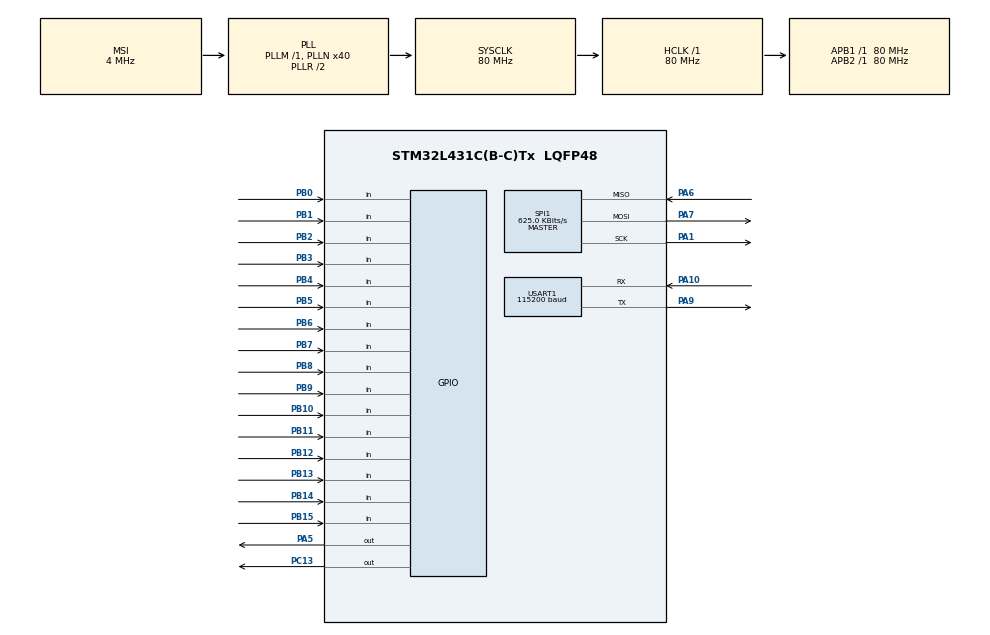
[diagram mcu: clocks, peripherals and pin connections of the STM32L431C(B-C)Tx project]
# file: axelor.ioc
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Dma.Request0=TIM1_UP
Dma.Request1=TIM1_CH1
Dma.TIM1_CH1.1.Direction=DMA_MEMORY_TO_PERIPH
Dma.TIM1_CH1.1.Instance=DMA1_Channel2
Dma.TIM1_CH1.1.MemDataAlignment=DMA_MDATAALIGN_WORD
Dma.TIM1_CH1.1.MemInc=DMA_MINC_ENABLE
Dma.TIM1_CH1.1.Mode=DMA_CIRCULAR
Dma.TIM1_CH1.1.PeriphDataAlignment=DMA_PDATAALIGN_WORD
Dma.TIM1_CH1.1.PeriphInc=DMA_PINC_DISABLE
Dma.TIM1_CH1.1.Priority=DMA_PRIORITY_LOW
Dma.TIM1_UP.0.Direction=DMA_MEMORY_TO_PERIPH
Dma.TIM1_UP.0.Instance=DMA1_Channel6
Dma.TIM1_UP.0.MemDataAlignment=DMA_MDATAALIGN_WORD
Dma.TIM1_UP.0.MemInc=DMA_MINC_ENABLE
Dma.TIM1_UP.0.Mode=DMA_CIRCULAR
Dma.TIM1_UP.0.PeriphDataAlignment=DMA_PDATAALIGN_WORD
Dma.TIM1_UP.0.PeriphInc=DMA_PINC_DISABLE
Dma.TIM1_UP.0.Priority=DMA_PRIORITY_LOW
Mcu.Family=STM32L4
Mcu.Name=STM32L431C(B-C)Tx
Mcu.Package=LQFP48
NVIC.DMA1_Channel2_IRQn=true\:0\:0\:false\:false\:true\:false\:true\:true
NVIC.DMA1_Channel6_IRQn=true\:0\:0\:false\:false\:true\:false\:true\:true
NVIC.PriorityGroup=NVIC_PRIORITYGROUP_4
PA1.Mode=Full_Duplex_Master
PA1.Signal=SPI1_SCK
PA10.Mode=Asynchronous
PA10.Signal=USART1_RX
PA13\ (JTMS-SWDIO).Mode=Serial_Wire
PA13\ (JTMS-SWDIO).Signal=SYS_JTMS-SWDIO
PA14\ (JTCK-SWCLK).Mode=Serial_Wire
PA14\ (JTCK-SWCLK).Signal=SYS_JTCK-SWCLK
PA5.Signal=GPIO_Output
PA6.Mode=Full_Duplex_Master
PA6.Signal=SPI1_MISO
PA7.Mode=Full_Duplex_Master
PA7.Signal=SPI1_MOSI
PA9.Mode=Asynchronous
PA9.Signal=USART1_TX
PB0.Signal=GPIO_Input
PB1.Signal=GPIO_Input
PB10.Signal=GPIO_Input
PB11.Signal=GPIO_Input
PB12.Signal=GPIO_Input
PB13.Signal=GPIO_Input
PB14.Signal=GPIO_Input
PB15.Signal=GPIO_Input
PB2.Signal=GPIO_Input
PB3\ (JTDO-TRACESWO).Signal=GPIO_Input
PB4\ (NJTRST).Signal=GPIO_Input
PB5.Signal=GPIO_Input
PB6.Signal=GPIO_Input
PB7.Signal=GPIO_Input
PB8.Signal=GPIO_Input
PB9.Signal=GPIO_Input
PC13.Signal=GPIO_Output
ProjectManager.HeapSize=0x200
ProjectManager.StackSize=0x400
ProjectManager.TargetToolchain=STM32CubeIDE
RCC.AHBFreq_Value=80000000
RCC.APB1Freq_Value=80000000
RCC.APB1TimFreq_Value=80000000
RCC.APB2Freq_Value=80000000
RCC.APB2TimFreq_Value=80000000
RCC.CortexFreq_Value=80000000
RCC.HCLKFreq_Value=80000000
RCC.HSE_VALUE=8000000
RCC.HSI48_VALUE=48000000
RCC.HSI_VALUE=16000000
RCC.LSE_VALUE=32768
RCC.MSI_VALUE=4000000
RCC.PLLN=40
RCC.SYSCLKFreq_VALUE=80000000
RCC.SYSCLKSource=RCC_SYSCLKSOURCE_PLLCLK
RCC.VCOOutputFreq_Value=160000000
SPI1.BaudRatePrescaler=SPI_BAUDRATEPRESCALER_128
SPI1.CalculateBaudRate=625.0 KBits/s
SPI1.DataSize=SPI_DATASIZE_8BIT
SPI1.Direction=SPI_DIRECTION_2LINES
SPI1.Mode=SPI_MODE_MASTER
SPI1.VirtualType=VM_MASTER
TIM1.Channel-Output\ Compare1\ No\ Output=TIM_CHANNEL_1
TIM1.Period=2775
TIM1.Pulse-Output\ Compare1\ No\ Output=2625
USART1.BaudRate=115200
USART1.VirtualMode-Asynchronous=VM_ASYNC
VP_TIM1_VS_ClockSourceINT.Mode=Internal
VP_TIM1_VS_no_output1.Mode=Output Compare1 No Output
board=custom

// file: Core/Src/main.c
/* USER CODE BEGIN Header */
/**
  ******************************************************************************
  * @file           : main.c
  * @brief          : Main program body
  ******************************************************************************
  * @attention
  *
  * Copyright (c) 2026 STMicroelectronics.
  * All rights reserved.
  *
  * This software is licensed under terms that can be found in the LICENSE file
  * in the root directory of this software component.
  * If no LICENSE file comes with this software, it is provided AS-IS.
  *
  ******************************************************************************
  */
/* USER CODE END Header */
#include "main.h"

/* USER CODE BEGIN Includes */
#include <stdio.h>
#include <string.h>
#include "scene.h"
#include "flip_utils.h"
/* USER CODE END Includes */

SPI_HandleTypeDef hspi1;

TIM_HandleTypeDef htim1;
DMA_HandleTypeDef hdma_tim1_up;
DMA_HandleTypeDef hdma_tim1_ch1;

UART_HandleTypeDef huart1;

/* USER CODE BEGIN PV */

uint32_t blinkCounter = 0;
char msg[128];

/* Charlieplex hardware bring-up scan. This board has NO per-leg current-limiting
   resistors on PB0..PB15 (confirmed), so the only thing protecting the GPIO pins
   from a software bug is the software itself -- see ChargePlex_ValidateScanTable
   and ChargePlex_CheckAlive below. */
#define CP_PIN_COUNT  16
#define CP_SLOT_COUNT (CP_PIN_COUNT * (CP_PIN_COUNT - 1)) /* 240: every ordered (src,dst) pin pair */

/* This board's wiring (confirmed by user): each of the 16 PB pins takes a turn as one row's
   single source/driving pin, with the other 15 pins as that row's sink/column pins -- the
   standard charlieplex row/column convention. ChargePlex_BuildScanTable's enumeration order
   (outer loop over src, inner loop over dst) already groups slots into exactly CP_ROWS
   contiguous blocks of CP_COLS slots each as a direct result -- row r occupies slots
   [r*CP_COLS, r*CP_COLS + CP_COLS - 1]. */
#define CP_ROWS CP_PIN_COUNT       /* 16 */
#define CP_COLS (CP_PIN_COUNT - 1) /* 15 */

static uint32_t bsrr_buf[CP_SLOT_COUNT];
static uint32_t moder_buf[CP_SLOT_COUNT];
static volatile uint8_t chargePlexFaulted = 0;
static uint8_t chargePlexFaultReported = 0;

/* Set true only after HAL_DMA_Start has actually run on both channels in main(), below.
   SysTick (and therefore ChargePlex_CheckAlive, which it calls every 1ms) starts running at
   HAL_Init(), several peripheral inits before MX_TIM1_Init() gives hdma_tim1_up/ch1 a real
   .Instance (set inside HAL_TIM_Base_MspInit, stm32l4xx_hal_msp.c). Without this guard,
   ChargePlex_CheckAlive reads __HAL_DMA_GET_COUNTER on a NULL .Instance during that gap --
   garbage memory, not a real transfer counter -- and a false "stalled" reading there
   permanently latches chargePlexFaulted before the real scan table even exists, silently
   disabling this watchdog for the rest of the session. */
static volatile uint8_t chargePlexScanStarted = 0;

/* Immutable per-slot "this is what moder_buf[slot] would be if this slot is on" reference,
   filled once by ChargePlex_BuildScanTable and never modified afterward -- moder_buf itself
   gets zeroed for "off" slots every frame, so this is what lets a slot be safely turned back
   on later without losing its source/sink pin-pair identity. */
static uint32_t moder_template[CP_SLOT_COUNT];

/* Firmware-local stand-in for DisplayFrame/cellColor until the physics core is ported
   onto this board (research.md Decision 17, data-model.md AxelorFrameBuffer). Shaped as an
   actual [row][col] matrix (not a flat 240 array) to match the eventual real DisplayFrame/
   cellColor shape directly -- no flattening will be needed when that swap happens. Filled by
   a placeholder pattern generator for now; NOT read by DMA -- only ChargePlex_ApplyFrameBuffer()
   translates it into moder_buf (via the row/col -> slot formula above), and only after
   re-validating. The DMA scanner, bsrr_buf, moder_template, and the validator are untouched by
   this -- this buffer is purely upstream of ChargePlex_ApplyFrameBuffer's existing gate. */
static uint8_t cpFrameBuf[CP_ROWS][CP_COLS];
static uint32_t cpCandidateModer[CP_SLOT_COUNT];

/* Round 9: the real ported FLIP simulation driving cpFrameBuf above, in place of Round 8's
   placeholder pattern generator (research.md Decisions 21-24). */
static Scene axelorScene;

/* MPU-6500's own +/-2g full-scale range (spec.md Clarifications Session 2026-06-23;
   research.md Decision 22) -- clamps accelX_mps2/accelY_mps2 before they reach
   simulateFlipFluid, so a violent shake can't inject an unbounded force into the solver. */
#define MAX_GRAVITY_MPS2 19.62f

static inline float ClampGravityMps2(float v)
{
    if (v > MAX_GRAVITY_MPS2) return MAX_GRAVITY_MPS2;
    if (v < -MAX_GRAVITY_MPS2) return -MAX_GRAVITY_MPS2;
    return v;
}

/* Round 11: dt is now this tick's measured wall-clock time (HAL_GetTick(), 1ms resolution), not a
   fixed 0.02f -- the loop no longer sleeps a fixed amount, so a fixed dt would drift from real
   time by whatever the tick's compute happened to cost (research.md Round 11). Clamped so the
   solver stays stable if a tick stalls, and to avoid dt<=0 if two ticks land in the same ms. */
#define MIN_DT_S 0.001f
#define MAX_DT_S 0.04f

static inline float ClampDtS(float v)
{
    if (v < MIN_DT_S) return MIN_DT_S;
    if (v > MAX_DT_S) return MAX_DT_S;
    return v;
}

/* Shared by the Counter print and MPU6500_ReadAccel's own prints below. Round 11: switched from
   iteration-count throttling (printTick % 25, tuned for the old fixed ~20ms/iteration) to
   elapsed-time throttling, since the loop no longer has a fixed period -- recomputed once per
   loop iteration, before MPU6500_ReadAccel() is called. */
static uint32_t lastPrintMs = 0;
static uint8_t printGate = 0;

/* USER CODE END PV */

void SystemClock_Config(void);
static void MX_GPIO_Init(void);
static void MX_DMA_Init(void);
static void MX_SPI1_Init(void);
static void MX_USART1_UART_Init(void);
static void MX_TIM1_Init(void);

/* USER CODE BEGIN 0 */

/* Retargets newlib's printf to huart1. Without this, syscalls.c's _write falls through to a
   weak, undefined __io_putchar -- harmless as long as nothing calls printf, but flip_utils.c's
   setupScene() (ported as-is from the canonical physics source, research.md Decision 18) does
   call printf once at boot, which would otherwise jump to an unresolved address and HardFault
   the very first time the simulation is set up. */
int __io_putchar(int ch)
{
    HAL_UART_Transmit(&huart1, (uint8_t*)&ch, 1, HAL_MAX_DELAY);
    return ch;
}

uint8_t mpuTxData[2];
uint8_t mpuRxData[2];

void MPU6500_ReadWhoAmI(void)
{
    uint8_t whoami;
    HAL_StatusTypeDef status;

    sprintf(msg, "[MPU] Starting WHO_AM_I read...\r\n");
    HAL_UART_Transmit(&huart1, (uint8_t*)msg, strlen(msg), HAL_MAX_DELAY);

    sprintf(msg, "[MPU] CS (PA5) -> LOW\r\n");
    HAL_UART_Transmit(&huart1, (uint8_t*)msg, strlen(msg), HAL_MAX_DELAY);
    HAL_GPIO_WritePin(GPIOA, GPIO_PIN_5, GPIO_PIN_RESET); // CS low

    mpuTxData[0] = 0x75 | 0x80; // WHO_AM_I register (0x75), read bit set
    mpuTxData[1] = 0x00;        // dummy byte to receive data

    status = HAL_SPI_TransmitReceive(&hspi1, mpuTxData, mpuRxData, 2, HAL_MAX_DELAY);

    HAL_GPIO_WritePin(GPIOA, GPIO_PIN_5, GPIO_PIN_SET); // CS high

    /* Snapshot results immediately, before any sprintf can touch these buffers */
    uint8_t tx0 = mpuTxData[0], tx1 = mpuTxData[1];
    uint8_t rx0 = mpuRxData[0], rx1 = mpuRxData[1];
    whoami = rx1;

    sprintf(msg, "[MPU] CS (PA5) -> HIGH\r\n");
    HAL_UART_Transmit(&huart1, (uint8_t*)msg, strlen(msg), HAL_MAX_DELAY);

    sprintf(msg, "[MPU] HAL_SPI_TransmitReceive status: %d (0=OK,1=ERROR,2=BUSY,3=TIMEOUT)\r\n", status);
    HAL_UART_Transmit(&huart1, (uint8_t*)msg, strlen(msg), HAL_MAX_DELAY);

    sprintf(msg, "[MPU] tx=[0x%02X 0x%02X] rx=[0x%02X 0x%02X]\r\n", tx0, tx1, rx0, rx1);
    HAL_UART_Transmit(&huart1, (uint8_t*)msg, strlen(msg), HAL_MAX_DELAY);

    sprintf(msg, "[MPU] WHO_AM_I: 0x%02X (expect 0x70) -> %s\r\n",
            whoami, (whoami == 0x70) ? "PASS" : "FAIL");
    HAL_UART_Transmit(&huart1, (uint8_t*)msg, strlen(msg), HAL_MAX_DELAY);
}

void MPU6500_WriteReg(uint8_t reg, uint8_t value)
{
    uint8_t tx[2] = { (uint8_t)(reg & 0x7F), value }; // write: MSB of addr = 0
    uint8_t rx[2];

    HAL_GPIO_WritePin(GPIOA, GPIO_PIN_5, GPIO_PIN_RESET);
    HAL_SPI_TransmitReceive(&hspi1, tx, rx, 2, HAL_MAX_DELAY);
    HAL_GPIO_WritePin(GPIOA, GPIO_PIN_5, GPIO_PIN_SET);
}

void MPU6500_ReadRegs(uint8_t reg, uint8_t *buf, uint8_t len)
{
    uint8_t tx[8] = {0};
    uint8_t rx[8] = {0};

    tx[0] = reg | 0x80; // read: MSB of addr = 1

    HAL_GPIO_WritePin(GPIOA, GPIO_PIN_5, GPIO_PIN_RESET);
    HAL_SPI_TransmitReceive(&hspi1, tx, rx, len + 1, HAL_MAX_DELAY);
    HAL_GPIO_WritePin(GPIOA, GPIO_PIN_5, GPIO_PIN_SET);

    memcpy(buf, &rx[1], len);
}

void MPU6500_Init(void)
{
    MPU6500_WriteReg(0x6A, 0x10); // USER_CTRL: I2C_IF_DIS = 1, lock to SPI-only mode
    HAL_Delay(1);
    MPU6500_WriteReg(0x6B, 0x01); // PWR_MGMT_1: clear SLEEP, select PLL clock source
    HAL_Delay(10);
    MPU6500_WriteReg(0x1C, 0x00); // ACCEL_CONFIG: AFS_SEL = 0 -> +/-2g, 16384 LSB/g

    sprintf(msg, "[MPU] Init done: SPI-only, awake, accel range +/-2g\r\n");
    HAL_UART_Transmit(&huart1, (uint8_t*)msg, strlen(msg), HAL_MAX_DELAY);
}

uint8_t accelRaw[6];
int16_t accelX_raw, accelY_raw, accelZ_raw;
/* Round 9: promoted from MPU6500_ReadAccel's locals to file scope so main()'s loop can read
   this tick's value as the simulation's gravity input after this function returns (research.md
   Decision 16/22). */
float accelX_mps2, accelY_mps2, accelZ_mps2;

void MPU6500_ReadAccel(void)
{
    MPU6500_ReadRegs(0x3B, accelRaw, 6); // ACCEL_XOUT_H..ACCEL_ZOUT_L

    accelX_raw = (int16_t)((accelRaw[0] << 8) | accelRaw[1]);
    accelY_raw = (int16_t)((accelRaw[2] << 8) | accelRaw[3]);
    accelZ_raw = (int16_t)((accelRaw[4] << 8) | accelRaw[5]);

    // milli-g via integer math (avoids needing float-in-printf support)
    long accelX_mg = ((long)accelX_raw * 1000) / 16384;
    long accelY_mg = ((long)accelY_raw * 1000) / 16384;
    long accelZ_mg = ((long)accelZ_raw * 1000) / 16384;

    if (printGate)
    {
        sprintf(msg, "[ACCEL] raw=[%d %d %d] mg=[%ld %ld %ld]\r\n",
                accelX_raw, accelY_raw, accelZ_raw, accelX_mg, accelY_mg, accelZ_mg);
        HAL_UART_Transmit(&huart1, (uint8_t*)msg, strlen(msg), HAL_MAX_DELAY);
    }

    // m/s^2 -- the exact unit/scale MotionInput.x/y and Scene.gravity_x/y need (research.md
    // Decision 16). Round 9: this now IS read, as the simulation's gravity input (clamped in
    // main()'s loop before reaching simulateFlipFluid, research.md Decision 22).
    accelX_mps2 = (accelX_mg / 1000.0f) * 9.81f;
    accelY_mps2 = (accelY_mg / 1000.0f) * 9.81f;
    accelZ_mps2 = (accelZ_mg / 1000.0f) * 9.81f;

    if (printGate)
    {
        // Printed as milli-(m/s^2) integers, same float-in-printf avoidance as the mg line above --
        // the underlying accel*_mps2 floats are the real value driving the simulation; only the
        // *display* stays integer-only.
        long accelX_mmps2 = (long)(accelX_mps2 * 1000.0f);
        long accelY_mmps2 = (long)(accelY_mps2 * 1000.0f);
        long accelZ_mmps2 = (long)(accelZ_mps2 * 1000.0f);

        sprintf(msg, "[ACCEL] mm/s2=[%ld %ld %ld] (= m/s2 x1000; sim will want this unit/scale)\r\n",
                accelX_mmps2, accelY_mmps2, accelZ_mmps2);
        HAL_UART_Transmit(&huart1, (uint8_t*)msg, strlen(msg), HAL_MAX_DELAY);
    }
}

/* Fills bsrr_buf/moder_buf with every one of the 240 ordered (source,sink) pin
   pairs on PB0..PB15, generated from the charlieplex formula instead of hand-typed
   hex -- a transcription error in a 240-entry literal table is exactly the kind of
   mistake that, on this resistor-less board, could drive two pins into each other.
   Bit-pattern verified by hand against the working 3-pin proof of concept in
   stm_projects/sample-charlieplexing (e.g. its LED1 = PB0 source/PB6 sink encodes
   to moder=0x00001001/bsrr=0x00400001, which this formula reproduces exactly for
   src=0,dst=6). */
static void ChargePlex_BuildScanTable(void)
{
    int slot = 0;
    for (int src = 0; src < CP_PIN_COUNT; src++)
    {
        for (int dst = 0; dst < CP_PIN_COUNT; dst++)
        {
            if (src == dst) continue;
            bsrr_buf[slot]      = (1UL << src) | (1UL << (dst + 16));
            moder_template[slot] = (1UL << (src * 2)) | (1UL << (dst * 2));
            moder_buf[slot]      = moder_template[slot]; /* initial state: every slot on */
            slot++;
        }
    }
}

/* Confirms every one of the 240 slots is either a valid "on" slot (exactly one source
   pin high, one different sink pin low, every other pin plain input) or a valid "off"
   slot (every pin plain input, nothing driven) -- checked before MOE/DMA are ever
   enabled, and again before any regenerated frame buffer is allowed to replace the
   live moder_buf (research.md Decision 17), so a table bug fails safe (matrix doesn't
   start, or the previous known-good frame is kept) instead of silently energizing an
   unintended pin pair. */
static int ChargePlex_ValidateScanTable(const uint32_t *moderToCheck)
{
    for (int slot = 0; slot < CP_SLOT_COUNT; slot++)
    {
        uint32_t moder = moderToCheck[slot];
        uint32_t bsrr  = bsrr_buf[slot]; /* bsrr_buf never changes after boot -- only moder does */
        int outputCount = 0;
        int srcPin = -1, dstPin = -1;

        for (int pin = 0; pin < CP_PIN_COUNT; pin++)
        {
            uint32_t field  = (moder >> (pin * 2)) & 0x3UL;
            int      isSet  = (bsrr & (1UL << pin)) != 0;
            int      isReset = (bsrr & (1UL << (pin + 16))) != 0;

            if (field == 0x1) /* configured as output for this slot */
            {
                outputCount++;
                if (isReset)    dstPin = pin; /* RESET has priority over SET in BSRR on real silicon */
                else if (isSet) srcPin = pin;
                else            return 0; /* output pin with no defined level -- reject */
            }
            else if (field != 0x0)
            {
                return 0; /* AF/analog should never appear in this table -- reject */
            }
            /* field == 0x0 (input): nothing to check. bsrr_buf is immutable and permanently
               holds this slot's 2 designated pins regardless of whether this slot is currently
               on or off -- an input pin is electrically disconnected from BSRR/ODR at the
               hardware level, so a "set"/"reset" bit sitting there for an off slot is the
               expected, harmless resting state, not a defect (this was incorrectly rejected
               before Round 8's off-slot support was added, which made every off slot fail). */
        }

        if (outputCount == 0)
        {
            continue; /* valid "off" slot -- nothing driven this cycle (research.md Decision 17) */
        }
        if (outputCount != 2 || srcPin < 0 || dstPin < 0 || srcPin == dstPin)
            return 0;
    }
    return 1;
}

/* Translates cpFrameBuf into a candidate moder_buf (on slots get their immutable
   moder_template pattern back; off slots get 0/all-input), validates that candidate in
   full, and only then commits it over the live moder_buf -- exactly the same fail-safe
   shape as the boot-time check, applied to every regenerated frame (research.md Decision
   17). A rejected frame is not a stall (the existing scan is still known-good and keeps
   running); it just means this particular new frame didn't pass and is discarded. */
static void ChargePlex_ApplyFrameBuffer(void)
{
    for (int row = 0; row < CP_ROWS; row++)
    {
        for (int col = 0; col < CP_COLS; col++)
        {
            int slot = row * CP_COLS + col; /* matches ChargePlex_BuildScanTable's row-major (src,dst) enumeration exactly */
            cpCandidateModer[slot] = cpFrameBuf[row][col] ? moder_template[slot] : 0;
        }
    }

    if (ChargePlex_ValidateScanTable(cpCandidateModer))
    {
        memcpy(moder_buf, cpCandidateModer, sizeof(moder_buf));
    }
    else
    {
        sprintf(msg, "[CHARLIEPLEX] frame rejected, keeping previous frame\r\n");
        HAL_UART_Transmit(&huart1, (uint8_t*)msg, strlen(msg), HAL_MAX_DELAY);
    }
}

/* Drives every PB pin back to plain input (HiZ) directly via register write,
   bypassing TIM1/DMA entirely. Deliberately avoids any HAL call that polls against
   HAL_GetTick() (e.g. HAL_DMA_Abort) -- this can be invoked from SysTick_Handler
   itself, where the tick is not advancing, so any such call would spin forever
   instead of completing. */
static void ChargePlex_ForceSafeState(void)
{
    __HAL_TIM_MOE_DISABLE(&htim1);
    __HAL_TIM_DISABLE(&htim1);
    hdma_tim1_up.Instance->CCR  &= ~DMA_CCR_EN;
    hdma_tim1_ch1.Instance->CCR &= ~DMA_CCR_EN;
    GPIOB->MODER = 0x00000000;
}

/* Called every 1ms from SysTick_Handler (stm32l4xx_it.c) so stall-detection latency
   never depends on whatever the main loop happens to be blocked in (HAL_Delay,
   blocking UART/SPI transfers, etc). Compares each DMA channel's remaining-transfer
   counter against the value read on the *previous* 1ms tick: at the real scan rate
   (~80MHz/2776 =~ 28.8 kHz/slot) the counter advances by roughly 28 of its 240
   states every millisecond, so an unchanged reading one tick later means the scan
   has stalled -- and with no series resistors on this board, a stalled scan means
   whatever pin pair was active is now driven continuously instead of multiplexed. */
void ChargePlex_CheckAlive(void)
{
    static uint32_t lastUp  = 0xFFFFFFFFUL; /* sentinel: no prior sample yet */
    static uint32_t lastCh1 = 0xFFFFFFFFUL;

    if (chargePlexFaulted || !chargePlexScanStarted) return;

    uint32_t up  = __HAL_DMA_GET_COUNTER(&hdma_tim1_up);
    uint32_t ch1 = __HAL_DMA_GET_COUNTER(&hdma_tim1_ch1);

    if (lastUp != 0xFFFFFFFFUL && (up == lastUp || ch1 == lastCh1))
    {
        chargePlexFaulted = 1;
        ChargePlex_ForceSafeState();
    }

    lastUp  = up;
    lastCh1 = ch1;
}
/* USER CODE END 0 */

int main(void)
{

  /* MCU Configuration--------------------------------------------------------*/

  /* Reset of all peripherals, Initializes the Flash interface and the Systick. */
  HAL_Init();

  /* Configure the system clock */
  SystemClock_Config();

  /* Initialize all configured peripherals */
  MX_GPIO_Init();
  MX_DMA_Init();
  MX_SPI1_Init();
  MX_USART1_UART_Init();
  MX_TIM1_Init();
  /* USER CODE BEGIN 2 */
  sprintf(msg, "\r\n>>> BUILD MARKER: AXELOR-001 <<<\r\n");
  HAL_UART_Transmit(&huart1, (uint8_t*)msg, strlen(msg), HAL_MAX_DELAY);

  HAL_Delay(100); // MPU-6500 register read/write start-up time
  MPU6500_ReadWhoAmI();
  MPU6500_Init();

  /* Round 9: bring up the real ported FLIP simulation before the matrix scan starts, so
     cpFrameBuf is never read by ChargePlex_ApplyFrameBuffer before it has real sim output to
     copy (research.md Decision 24). scene_init()/setupScene() are the unmodified, ported
     functions; paused is forced false only here, in this board-specific glue code -- there is
     no UI on this board to ever un-pause it otherwise. */
  scene_init(&axelorScene);
  setupScene(&axelorScene);
  axelorScene.paused = false;
  sprintf(msg, "[SIM] setup complete\r\n");
  HAL_UART_Transmit(&huart1, (uint8_t*)msg, strlen(msg), HAL_MAX_DELAY);

  ChargePlex_BuildScanTable();
  if (!ChargePlex_ValidateScanTable(moder_buf))
  {
      sprintf(msg, "[CHARLIEPLEX] FAULT: scan table failed self-check -- matrix NOT started\r\n");
      HAL_UART_Transmit(&huart1, (uint8_t*)msg, strlen(msg), HAL_MAX_DELAY);
      chargePlexFaulted = 1;
      chargePlexFaultReported = 1;
      ChargePlex_ForceSafeState(); /* belt-and-suspenders: PB pins should already be input from MX_GPIO_Init */
  }
  else
  {
      sprintf(msg, "[CHARLIEPLEX] scan table OK (240/240 slots), starting matrix scan\r\n");
      HAL_UART_Transmit(&huart1, (uint8_t*)msg, strlen(msg), HAL_MAX_DELAY);

      __HAL_TIM_MOE_ENABLE(&htim1);
      HAL_DMA_Start(&hdma_tim1_ch1, (uint32_t)bsrr_buf, (uint32_t)&GPIOB->BSRR, CP_SLOT_COUNT);
      HAL_DMA_Start(&hdma_tim1_up, (uint32_t)moder_buf, (uint32_t)&GPIOB->MODER, CP_SLOT_COUNT);
      HAL_TIM_OC_Start(&htim1, TIM_CHANNEL_1);
      __HAL_TIM_ENABLE_DMA(&htim1, TIM_DMA_CC1);
      __HAL_TIM_ENABLE_DMA(&htim1, TIM_DMA_UPDATE);
      HAL_TIM_Base_Start(&htim1);
      chargePlexScanStarted = 1; /* only now is it safe for ChargePlex_CheckAlive to read the DMA counters */
  }
  /* USER CODE END 2 */

  /* Round 11: tracks real elapsed time between ticks so dt can be measured instead of assumed
     (research.md Round 11). Initialized right before the loop starts, not at declaration, so the
     first iteration's delta is near-zero rather than however long boot took. */
  uint32_t lastTickMs = HAL_GetTick();

  /* Infinite loop */
  while (1)
  {

    /* USER CODE BEGIN 3 */
    /* Round 11: one HAL_GetTick() read serves both this tick's dt and the print-throttle gate --
       the loop no longer sleeps a fixed amount, so both must be measured, not assumed. */
    uint32_t nowMs = HAL_GetTick();
    float tickDt = ClampDtS((nowMs - lastTickMs) / 1000.0f);
    lastTickMs = nowMs;
    printGate = (nowMs - lastPrintMs) >= 500;
    if (printGate) lastPrintMs = nowMs;

    /* Read first so this tick's freshest accel sample drives this tick's simulation step
       below, rather than the previous tick's (research.md Decision 21/22). */
    MPU6500_ReadAccel();

    if (chargePlexFaulted && !chargePlexFaultReported)
    {
        sprintf(msg, "[CHARLIEPLEX] FAULT: scan stalled -- matrix forced to safe input state\r\n");
        HAL_UART_Transmit(&huart1, (uint8_t*)msg, strlen(msg), HAL_MAX_DELAY);
        chargePlexFaultReported = 1;
    }
    else if (!chargePlexFaulted)
    {
        /* Round 9: the real ported simulation replaces Round 8's placeholder pattern
           generator (research.md Decision 23). Gravity input is this tick's accel reading,
           magnitude-clamped to the MPU-6500's own +/-2g range (Decision 22) before reaching
           simulateFlipFluid -- the physics core itself stays an unmodified, verbatim port
           (contracts/physics-core.md), so the clamp lives here in board-specific glue code.
           Round 10: on-hardware testing found the board's mounted accelerometer axes are
           swapped relative to the display's row/col axes -- accelX_mps2 is physically the
           vertical (row) axis and accelY_mps2 is the horizontal (col) axis, not the other way
           around as originally assumed. gravity_y drives row motion and gravity_x drives col
           motion in simulateFlipFluid (see flip_fluid.c's dstY*GRID_X+dstX convention), so the
           accel axes are swapped here to match. */
        float clampedGravityX = ClampGravityMps2(accelY_mps2);
        float clampedGravityY = ClampGravityMps2(accelX_mps2);

        simulateFlipFluid(axelorScene.fluid, tickDt, clampedGravityX, clampedGravityY,
                           axelorScene.flipRatio, axelorScene.numPressureIters,
                           axelorScene.numParticleIters, axelorScene.overRelaxation,
                           axelorScene.compensateDrift, axelorScene.separateParticles);

        for (int row = 0; row < CP_ROWS; row++)
        {
            for (int col = 0; col < CP_COLS; col++)
            {
                cpFrameBuf[row][col] = (axelorScene.fluid->cellColor[row * GRID_X + col] > 0.5f) ? 1 : 0;
            }
        }

        /* Unmodified from Round 8 -- still the same validate-or-reject gate, applied to the
           real simulation's output exactly as it was to the placeholder pattern. */
        ChargePlex_ApplyFrameBuffer();
    }

    HAL_GPIO_TogglePin(GPIOC, GPIO_PIN_13);
    blinkCounter++;
    if (printGate)
    {
        sprintf(msg, "Counter: %lu\r\n", blinkCounter);
        HAL_UART_Transmit(&huart1, (uint8_t*)msg, strlen(msg), HAL_MAX_DELAY);
    }
    /* Round 11: no fixed delay -- loop runs at compute speed (research.md Round 11). Safe because
       ChargePlex's scan is TIM1+DMA-driven, decoupled from main-loop rate; this never changes
       what's written to cpFrameBuf or how often ChargePlex_ApplyFrameBuffer() is called per tick. */
  }
  /* USER CODE END 3 */
}

void SystemClock_Config(void)
{
  RCC_OscInitTypeDef RCC_OscInitStruct = {0};
  RCC_ClkInitTypeDef RCC_ClkInitStruct = {0};

  /** Configure the main internal regulator output voltage
  */
  if (HAL_PWREx_ControlVoltageScaling(PWR_REGULATOR_VOLTAGE_SCALE1) != HAL_OK)
  {
    Error_Handler();
  }

  /** Initializes the RCC Oscillators according to the specified parameters
  * in the RCC_OscInitTypeDef structure.
  */
  RCC_OscInitStruct.OscillatorType = RCC_OSCILLATORTYPE_MSI;
  RCC_OscInitStruct.MSIState = RCC_MSI_ON;
  RCC_OscInitStruct.MSICalibrationValue = 0;
  RCC_OscInitStruct.MSIClockRange = RCC_MSIRANGE_6;
  RCC_OscInitStruct.PLL.PLLState = RCC_PLL_ON;
  RCC_OscInitStruct.PLL.PLLSource = RCC_PLLSOURCE_MSI;
  RCC_OscInitStruct.PLL.PLLM = 1;
  RCC_OscInitStruct.PLL.PLLN = 40;
  RCC_OscInitStruct.PLL.PLLP = RCC_PLLP_DIV7;
  RCC_OscInitStruct.PLL.PLLQ = RCC_PLLQ_DIV2;
  RCC_OscInitStruct.PLL.PLLR = RCC_PLLR_DIV2;
  if (HAL_RCC_OscConfig(&RCC_OscInitStruct) != HAL_OK)
  {
    Error_Handler();
  }

  /** Initializes the CPU, AHB and APB buses clocks
  */
  RCC_ClkInitStruct.ClockType = RCC_CLOCKTYPE_HCLK|RCC_CLOCKTYPE_SYSCLK
                              |RCC_CLOCKTYPE_PCLK1|RCC_CLOCKTYPE_PCLK2;
  RCC_ClkInitStruct.SYSCLKSource = RCC_SYSCLKSOURCE_PLLCLK;
  RCC_ClkInitStruct.AHBCLKDivider = RCC_SYSCLK_DIV1;
  RCC_ClkInitStruct.APB1CLKDivider = RCC_HCLK_DIV1;
  RCC_ClkInitStruct.APB2CLKDivider = RCC_HCLK_DIV1;

  if (HAL_RCC_ClockConfig(&RCC_ClkInitStruct, FLASH_LATENCY_4) != HAL_OK)
  {
    Error_Handler();
  }
}

static void MX_SPI1_Init(void)
{

  /* SPI1 parameter configuration*/
  hspi1.Instance = SPI1;
  hspi1.Init.Mode = SPI_MODE_MASTER;
  hspi1.Init.Direction = SPI_DIRECTION_2LINES;
  hspi1.Init.DataSize = SPI_DATASIZE_8BIT;
  hspi1.Init.CLKPolarity = SPI_POLARITY_LOW;
  hspi1.Init.CLKPhase = SPI_PHASE_1EDGE;
  hspi1.Init.NSS = SPI_NSS_SOFT;
  hspi1.Init.BaudRatePrescaler = SPI_BAUDRATEPRESCALER_128;
  hspi1.Init.FirstBit = SPI_FIRSTBIT_MSB;
  hspi1.Init.TIMode = SPI_TIMODE_DISABLE;
  hspi1.Init.CRCCalculation = SPI_CRCCALCULATION_DISABLE;
  hspi1.Init.CRCPolynomial = 7;
  hspi1.Init.CRCLength = SPI_CRC_LENGTH_DATASIZE;
  hspi1.Init.NSSPMode = SPI_NSS_PULSE_ENABLE;
  if (HAL_SPI_Init(&hspi1) != HAL_OK)
  {
    Error_Handler();
  }

}

static void MX_TIM1_Init(void)
{

  TIM_ClockConfigTypeDef sClockSourceConfig = {0};
  TIM_MasterConfigTypeDef sMasterConfig = {0};
  TIM_OC_InitTypeDef sConfigOC = {0};
  TIM_BreakDeadTimeConfigTypeDef sBreakDeadTimeConfig = {0};

  htim1.Instance = TIM1;
  htim1.Init.Prescaler = 0;
  htim1.Init.CounterMode = TIM_COUNTERMODE_UP;
  htim1.Init.Period = 2775;
  htim1.Init.ClockDivision = TIM_CLOCKDIVISION_DIV1;
  htim1.Init.RepetitionCounter = 0;
  htim1.Init.AutoReloadPreload = TIM_AUTORELOAD_PRELOAD_DISABLE;
  if (HAL_TIM_Base_Init(&htim1) != HAL_OK)
  {
    Error_Handler();
  }
  sClockSourceConfig.ClockSource = TIM_CLOCKSOURCE_INTERNAL;
  if (HAL_TIM_ConfigClockSource(&htim1, &sClockSourceConfig) != HAL_OK)
  {
    Error_Handler();
  }
  if (HAL_TIM_OC_Init(&htim1) != HAL_OK)
  {
    Error_Handler();
  }
  sMasterConfig.MasterOutputTrigger = TIM_TRGO_RESET;
  sMasterConfig.MasterOutputTrigger2 = TIM_TRGO2_RESET;
  sMasterConfig.MasterSlaveMode = TIM_MASTERSLAVEMODE_DISABLE;
  if (HAL_TIMEx_MasterConfigSynchronization(&htim1, &sMasterConfig) != HAL_OK)
  {
    Error_Handler();
  }
  sConfigOC.OCMode = TIM_OCMODE_TIMING;
  sConfigOC.Pulse = 2625;
  sConfigOC.OCPolarity = TIM_OCPOLARITY_HIGH;
  sConfigOC.OCNPolarity = TIM_OCNPOLARITY_HIGH;
  sConfigOC.OCFastMode = TIM_OCFAST_DISABLE;
  sConfigOC.OCIdleState = TIM_OCIDLESTATE_RESET;
  sConfigOC.OCNIdleState = TIM_OCNIDLESTATE_RESET;
  if (HAL_TIM_OC_ConfigChannel(&htim1, &sConfigOC, TIM_CHANNEL_1) != HAL_OK)
  {
    Error_Handler();
  }
  sBreakDeadTimeConfig.OffStateRunMode = TIM_OSSR_DISABLE;
  sBreakDeadTimeConfig.OffStateIDLEMode = TIM_OSSI_DISABLE;
  sBreakDeadTimeConfig.LockLevel = TIM_LOCKLEVEL_OFF;
  sBreakDeadTimeConfig.DeadTime = 0;
  sBreakDeadTimeConfig.BreakState = TIM_BREAK_DISABLE;
  sBreakDeadTimeConfig.BreakPolarity = TIM_BREAKPOLARITY_HIGH;
  sBreakDeadTimeConfig.BreakFilter = 0;
  sBreakDeadTimeConfig.Break2State = TIM_BREAK2_DISABLE;
  sBreakDeadTimeConfig.Break2Polarity = TIM_BREAK2POLARITY_HIGH;
  sBreakDeadTimeConfig.Break2Filter = 0;
  sBreakDeadTimeConfig.AutomaticOutput = TIM_AUTOMATICOUTPUT_DISABLE;
  if (HAL_TIMEx_ConfigBreakDeadTime(&htim1, &sBreakDeadTimeConfig) != HAL_OK)
  {
    Error_Handler();
  }

}

static void MX_USART1_UART_Init(void)
{

  huart1.Instance = USART1;
  huart1.Init.BaudRate = 115200;
  huart1.Init.WordLength = UART_WORDLENGTH_8B;
  huart1.Init.StopBits = UART_STOPBITS_1;
  huart1.Init.Parity = UART_PARITY_NONE;
  huart1.Init.Mode = UART_MODE_TX_RX;
  huart1.Init.HwFlowCtl = UART_HWCONTROL_NONE;
  huart1.Init.OverSampling = UART_OVERSAMPLING_16;
  huart1.Init.OneBitSampling = UART_ONE_BIT_SAMPLE_DISABLE;
  huart1.AdvancedInit.AdvFeatureInit = UART_ADVFEATURE_NO_INIT;
  if (HAL_UART_Init(&huart1) != HAL_OK)
  {
    Error_Handler();
  }

}

static void MX_DMA_Init(void)
{

  /* DMA controller clock enable */
  __HAL_RCC_DMA1_CLK_ENABLE();

  /* DMA interrupt init */
  /* DMA1_Channel2_IRQn interrupt configuration */
  HAL_NVIC_SetPriority(DMA1_Channel2_IRQn, 0, 0);
  HAL_NVIC_EnableIRQ(DMA1_Channel2_IRQn);
  /* DMA1_Channel6_IRQn interrupt configuration */
  HAL_NVIC_SetPriority(DMA1_Channel6_IRQn, 0, 0);
  HAL_NVIC_EnableIRQ(DMA1_Channel6_IRQn);

}

static void MX_GPIO_Init(void)
{
  GPIO_InitTypeDef GPIO_InitStruct = {0};

  /* GPIO Ports Clock Enable */
  __HAL_RCC_GPIOC_CLK_ENABLE();
  __HAL_RCC_GPIOA_CLK_ENABLE();
  __HAL_RCC_GPIOB_CLK_ENABLE();

  /*Configure GPIO pin Output Level */
  HAL_GPIO_WritePin(GPIOC, GPIO_PIN_13, GPIO_PIN_RESET);

  /*Configure GPIO pin Output Level */
  HAL_GPIO_WritePin(GPIOA, GPIO_PIN_5, GPIO_PIN_RESET);

  /*Configure GPIO pin : PC13 */
  GPIO_InitStruct.Pin = GPIO_PIN_13;
  GPIO_InitStruct.Mode = GPIO_MODE_OUTPUT_PP;
  GPIO_InitStruct.Pull = GPIO_NOPULL;
  GPIO_InitStruct.Speed = GPIO_SPEED_FREQ_LOW;
  HAL_GPIO_Init(GPIOC, &GPIO_InitStruct);

  /*Configure GPIO pin : PA5 */
  GPIO_InitStruct.Pin = GPIO_PIN_5;
  GPIO_InitStruct.Mode = GPIO_MODE_OUTPUT_PP;
  GPIO_InitStruct.Pull = GPIO_NOPULL;
  GPIO_InitStruct.Speed = GPIO_SPEED_FREQ_LOW;
  HAL_GPIO_Init(GPIOA, &GPIO_InitStruct);

  /*Configure GPIO pins : PB0 PB1 PB2 PB10
                           PB11 PB12 PB13 PB14
                           PB15 PB3 PB4 PB5
                           PB6 PB7 PB8 PB9 */
  GPIO_InitStruct.Pin = GPIO_PIN_0|GPIO_PIN_1|GPIO_PIN_2|GPIO_PIN_10
                          |GPIO_PIN_11|GPIO_PIN_12|GPIO_PIN_13|GPIO_PIN_14
                          |GPIO_PIN_15|GPIO_PIN_3|GPIO_PIN_4|GPIO_PIN_5
                          |GPIO_PIN_6|GPIO_PIN_7|GPIO_PIN_8|GPIO_PIN_9;
  GPIO_InitStruct.Mode = GPIO_MODE_INPUT;
  GPIO_InitStruct.Pull = GPIO_NOPULL;
  HAL_GPIO_Init(GPIOB, &GPIO_InitStruct);

}

void Error_Handler(void)
{
  __disable_irq();
  while (1)
  {
  }
}
